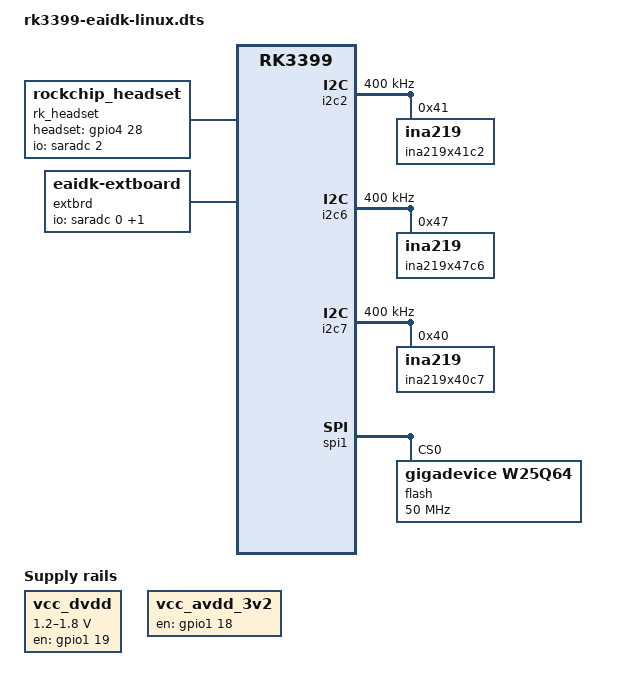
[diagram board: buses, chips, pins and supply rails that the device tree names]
/*
 * Copyright (c) 2018 Fuzhou Rockchip Electronics Co., Ltd
 *
 * This file is dual-licensed: you can use it either under the terms
 * of the GPL or the X11 license, at your option. Note that this dual
 * licensing only applies to this file, and not this project as a
 * whole.
 *
 *  a) This file is free software; you can redistribute it and/or
 *     modify it under the terms of the GNU General Public License as
 *     published by the Free Software Foundation; either version 2 of the
 *     License, or (at your option) any later version.
 *
 *     This file is distributed in the hope that it will be useful,
 *     but WITHOUT ANY WARRANTY; without even the implied warranty of
 *     MERCHANTABILITY or FITNESS FOR A PARTICULAR PURPOSE.  See the
 *     GNU General Public License for more details.
 *
 * Or, alternatively,
 *
 *  b) Permission is hereby granted, free of charge, to any person
 *     obtaining a copy of this software and associated documentation
 *     files (the "Software"), to deal in the Software without
 *     restriction, including without limitation the rights to use,
 *     copy, modify, merge, publish, distribute, sublicense, and/or
 *     sell copies of the Software, and to permit persons to whom the
 *     Software is furnished to do so, subject to the following
 *     conditions:
 *
 *     The above copyright notice and this permission notice shall be
 *     included in all copies or substantial portions of the Software.
 *
 *     THE SOFTWARE IS PROVIDED "AS IS", WITHOUT WARRANTY OF ANY KIND,
 *     EXPRESS OR IMPLIED, INCLUDING BUT NOT LIMITED TO THE WARRANTIES
 *     OF MERCHANTABILITY, FITNESS FOR A PARTICULAR PURPOSE AND
 *     NONINFRINGEMENT. IN NO EVENT SHALL THE AUTHORS OR COPYRIGHT
 *     HOLDERS BE LIABLE FOR ANY CLAIM, DAMAGES OR OTHER LIABILITY,
 *     WHETHER IN AN ACTION OF CONTRACT, TORT OR OTHERWISE, ARISING
 *     FROM, OUT OF OR IN CONNECTION WITH THE SOFTWARE OR THE USE OR
 *     OTHER DEALINGS IN THE SOFTWARE.
 */

/dts-v1/;

#include "rk3399-eaidk.dtsi"
#include "rk3399-android.dtsi"
#include "rk3399-vop-clk-set.dtsi"
#include "rk3399-vop-clk-set.dtsi"
/* Default screen: mipi */
#include "rk3399-eaidk-mipi.dtsi"
//#include "rk3399-eaidk-edp.dtsi"
/* Default camera: ov9750 */
#include "rk3399-eaidk-ov9750.dtsi"
//#include "rk3399-eaidk-imx258.dtsi"

/ {
	compatible = "rockchip,rk3399-eaidk-mipi","rockchip,rk3399";
	rk_headset: rk-headset {
		compatible = "rockchip_headset";
		headset_gpio = <&gpio4 28 GPIO_ACTIVE_HIGH>;
		pinctrl-names = "default";
		pinctrl-0 = <&hp_det>;
		io-channels = <&saradc 2>;
	};

	hdmi_codec: hdmi-codec {
		compatible = "simple-audio-card";
		simple-audio-card,format = "i2s";
		simple-audio-card,mclk-fs = <256>;
		simple-audio-card,name = "HDMI-CODEC";

		simple-audio-card,cpu {
			sound-dai = <&i2s2>;
		};

		simple-audio-card,codec {
			sound-dai = <&hdmi>;
		};
	};

	extbrd: extbrd {
		compatible = "eaidk-extboard";
		io-channels = <&saradc 0>, <&saradc 3>;
	};

        vcc_dvdd: vcc-dvdd {
		compatible = "regulator-gpio";
		regulator-name = "vcc_dvdd";
		pinctrl-names = "default";
		pinctrl-0 = <&vcc_dvdd_pwr_en &vcc_dvdd_sel>;
		enable-active-high;
		startup-delay-us = <1000>;
		enable-gpio = <&gpio1 19 GPIO_ACTIVE_HIGH>;
		gpios = <&gpio4 25 GPIO_ACTIVE_HIGH>;
		states = <1200000 0x0
			  1800000 0x1 >;

		regulator-min-microvolt = <1200000>;
		regulator-max-microvolt = <1800000>;
	};

	vcc_avdd_3v2:  vcc-avdd-3v2 {
		compatible = "regulator-fixed";
		regulator-name = "vcc_avdd_3v2";
		pinctrl-names = "default";
		pinctrl-0 = <&vcc_avdd_pwr_en>;
		enable-active-high;
		startup-delay-us = <1000>;
		gpio = <&gpio1 18 GPIO_ACTIVE_HIGH>;
	};
};

&hdmi_codec{
	status ="okay";
};

&i2c2 {
        status = "okay";
        i2c-scl-rising-time-ns = <300>;
        i2c-scl-falling-time-ns = <15>;
        clock-frequency=<400000>;

        ina219x41c2: ina219@41 {
                compatible = "ina219";
                reg = <0x41>;
        };
};

&i2c6 {
        status = "okay";
        i2c-scl-rising-time-ns = <300>;
        i2c-scl-falling-time-ns = <15>;
        clock-frequency=<400000>;

        ina219x47c6: ina219@47 {
                compatible = "ina219";
                reg = <0x47>;
        };
};

&i2c7 {
        status = "okay";
        i2c-scl-rising-time-ns = <300>;
        i2c-scl-falling-time-ns = <15>;
        clock-frequency=<400000>;

        ina219x40c7: ina219@40 {
                compatible = "ina219";
                reg = <0x40>;
        };
};

&spi1 {
	status = "okay";

	flash@0 {
		compatible = "gigadevice,w25q64", "jedec,spi-nor";
		#address-cells = <1>;
		#size-cells = <1>;
		reg = <0>;
		m25p,fast-read;
		// The max SCLK of the flash 104/80 MHZ
		spi-max-frequency = <50000000>;
	};
};

&pinctrl {
	vcc_cam {
		vcc_dvdd_pwr_en: vdd-dvdd-pwr-en {
			rockchip,pins = <1 19 RK_FUNC_GPIO &pcfg_pull_down>;
		};

		vcc_dvdd_sel: vdd-dvdd-sel {
			rockchip,pins = <4 25 RK_FUNC_GPIO &pcfg_pull_down>;
		};

		vcc_avdd_pwr_en: vdd-avdd-pwr-en {
			rockchip,pins = <1 18 RK_FUNC_GPIO &pcfg_pull_down>;
		};
	};

	cam_mclk {
		cam_default_pins: cam-default-pins {
			rockchip,pins = <2 11 RK_FUNC_3 &pcfg_pull_none>;
		};
	};
};
